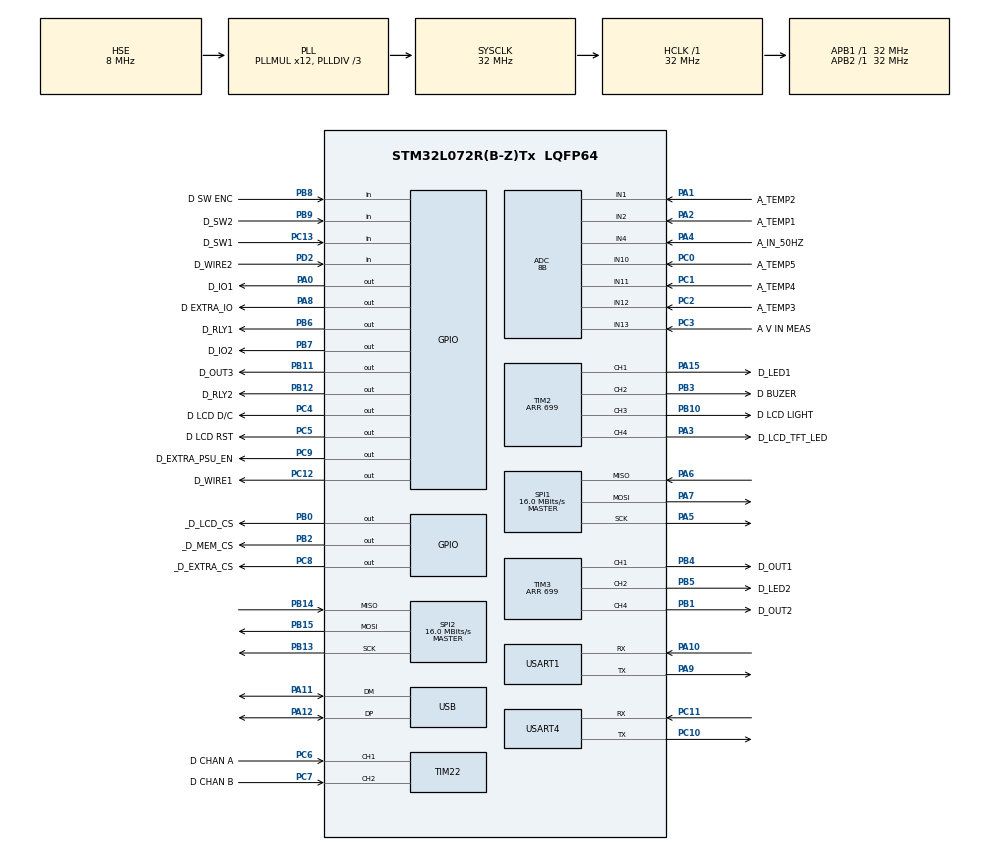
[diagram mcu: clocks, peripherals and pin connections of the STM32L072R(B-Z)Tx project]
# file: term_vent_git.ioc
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ADC.ClockPrescaler=ADC_CLOCK_SYNC_PCLK_DIV2
ADC.ContinuousConvMode=DISABLE
ADC.DMAContinuousRequests=DISABLE
ADC.DataAlign=ADC_DATAALIGN_RIGHT
ADC.DiscontinuousConvMode=DISABLE
ADC.EOCSelection=ADC_EOC_SINGLE_CONV
ADC.EnableAnalogWatchDog=false
ADC.ExternalTrigConv=ADC_SOFTWARE_START
ADC.ExternalTrigConvEdge=ADC_EXTERNALTRIGCONVEDGE_NONE
ADC.LowPowerAutoPowerOff=DISABLE
ADC.LowPowerAutoWait=DISABLE
ADC.LowPowerFrequencyMode=DISABLE
ADC.Overrun=ADC_OVR_DATA_PRESERVED
ADC.OversamplingMode=DISABLE
ADC.Resolution=ADC_RESOLUTION_8B
ADC.SamplingTime=ADC_SAMPLETIME_12CYCLES_5
ADC.ScanConvMode=ADC_SCAN_DIRECTION_FORWARD
Dma.ADC.0.Direction=DMA_PERIPH_TO_MEMORY
Dma.ADC.0.Instance=DMA1_Channel1
Dma.ADC.0.MemDataAlignment=DMA_MDATAALIGN_WORD
Dma.ADC.0.MemInc=DMA_MINC_ENABLE
Dma.ADC.0.Mode=DMA_NORMAL
Dma.ADC.0.PeriphDataAlignment=DMA_PDATAALIGN_WORD
Dma.ADC.0.PeriphInc=DMA_PINC_DISABLE
Dma.ADC.0.Priority=DMA_PRIORITY_LOW
Dma.Request0=ADC
Mcu.Family=STM32L0
Mcu.Name=STM32L072R(B-Z)Tx
Mcu.Package=LQFP64
NVIC.DMA1_Channel1_IRQn=true\:0\:0\:false\:false\:true\:false
PA0.GPIO_Label=D_IO1
PA0.GPIO_ModeDefaultOutputPP=GPIO_MODE_OUTPUT_PP
PA0.GPIO_PuPd=GPIO_NOPULL
PA0.Signal=GPIO_Output
PA1.GPIO_Label=A_TEMP2
PA1.Mode=IN1
PA1.Signal=ADC_IN1
PA10.Mode=Asynchronous
PA10.Signal=USART1_RX
PA11.Mode=Device
PA11.Signal=USB_DM
PA12.Mode=Device
PA12.Signal=USB_DP
PA13.Mode=Serial_Wire
PA13.Signal=SYS_SWDIO
PA14.Mode=Serial_Wire
PA14.Signal=SYS_SWCLK
PA15.GPIO_Label=D_LED1
PA15.Signal=S_TIM2_CH1
PA2.GPIO_Label=A_TEMP1
PA2.Signal=SharedAnalog_PA2
PA3.GPIO_Label=D_LCD_TFT_LED
PA3.GPIO_ModeDefaultPP=GPIO_MODE_AF_OD
PA3.Signal=S_TIM2_CH4
PA4.GPIO_Label=A_IN_50HZ
PA4.Signal=SharedAnalog_PA4
PA5.Mode=Full_Duplex_Master
PA5.Signal=SPI1_SCK
PA6.Mode=Full_Duplex_Master
PA6.Signal=SPI1_MISO
PA7.Mode=Full_Duplex_Master
PA7.Signal=SPI1_MOSI
PA8.GPIO_Label=D EXTRA_IO
PA8.Signal=GPIO_Output
PA9.Mode=Asynchronous
PA9.Signal=USART1_TX
PB0.GPIO_Label=_D_LCD_CS
PB0.Signal=GPIO_Output
PB1.GPIO_Label=D_OUT2
PB1.Signal=S_TIM3_CH4
PB10.GPIO_Label=D LCD LIGHT
PB10.Signal=S_TIM2_CH3
PB11.GPIO_Label=D_OUT3
PB11.Signal=GPIO_Output
PB12.GPIO_Label=D_RLY2
PB12.Signal=GPIO_Output
PB13.Mode=Full_Duplex_Master
PB13.Signal=SPI2_SCK
PB14.Mode=Full_Duplex_Master
PB14.Signal=SPI2_MISO
PB15.Mode=Full_Duplex_Master
PB15.Signal=SPI2_MOSI
PB2.GPIO_Label=_D_MEM_CS
PB2.Signal=GPIO_Output
PB3.GPIO_Label=D BUZER
PB3.Signal=S_TIM2_CH2
PB4.GPIO_Label=D_OUT1
PB4.Signal=S_TIM3_CH1
PB5.GPIO_Label=D_LED2
PB5.Signal=S_TIM3_CH2
PB6.GPIO_Label=D_RLY1
PB6.Signal=GPIO_Output
PB7.GPIO_Label=D_IO2
PB7.Signal=GPIO_Output
PB8.GPIO_Label=D SW ENC
PB8.Signal=GPIO_Input
PB9.GPIO_Label=D_SW2
PB9.Signal=GPIO_Input
PC0.GPIO_Label=A_TEMP5
PC0.Signal=SharedAnalog_PC0
PC1.GPIO_Label=A_TEMP4
PC1.Signal=SharedAnalog_PC1
PC10.Mode=Asynchronous
PC10.Signal=USART4_TX
PC11.Mode=Asynchronous
PC11.Signal=USART4_RX
PC12.GPIO_Label=D_WIRE1
PC12.Signal=GPIO_Output
PC13.GPIO_Label=D_SW1
PC13.Signal=GPIO_Input
PC14-OSC32_IN.Mode=LSE-External-Oscillator
PC14-OSC32_IN.Signal=RCC_OSC32_IN
PC15-OSC32_OUT.Mode=LSE-External-Oscillator
PC15-OSC32_OUT.Signal=RCC_OSC32_OUT
PC2.GPIO_Label=A_TEMP3
PC2.Mode=IN12
PC2.Signal=ADC_IN12
PC3.GPIO_Label=A V IN MEAS
PC3.Mode=IN13
PC3.Signal=ADC_IN13
PC4.GPIO_Label=D LCD D/C
PC4.Signal=GPIO_Output
PC5.GPIO_Label=D LCD RST
PC5.Signal=GPIO_Output
PC6.GPIO_Label=D CHAN A
PC6.Signal=S_TIM22_CH1
PC7.GPIO_Label=D CHAN B
PC7.Signal=S_TIM22_CH2
PC8.GPIO_Label=_D_EXTRA_CS
PC8.Signal=GPIO_Output
PC9.GPIO_Label=D_EXTRA_PSU_EN
PC9.Signal=GPIO_Output
PD2.GPIO_Label=D_WIRE2
PD2.Signal=GPIO_Input
PH0-OSC_IN.Mode=HSE-External-Oscillator
PH0-OSC_IN.Signal=RCC_OSC_IN
PH1-OSC_OUT.Mode=HSE-External-Oscillator
PH1-OSC_OUT.Signal=RCC_OSC_OUT
ProjectManager.HeapSize=0x200
ProjectManager.StackSize=0x400
ProjectManager.TargetToolchain=SW4STM32
RCC.AHBFreq_Value=32000000
RCC.APB1Freq_Value=32000000
RCC.APB1TimFreq_Value=32000000
RCC.APB2Freq_Value=32000000
RCC.APB2TimFreq_Value=32000000
RCC.HCLKFreq_Value=32000000
RCC.HSE_VALUE=8000000
RCC.HSI16_VALUE=16000000
RCC.HSI48_VALUE=48000000
RCC.HSI_VALUE=16000000
RCC.MSI_VALUE=2097000
RCC.PLLDIV=RCC_PLLDIV_3
RCC.PLLMUL=RCC_PLLMUL_12
RCC.RTCClockSelection=RCC_RTCCLKSOURCE_LSE
RCC.RTCClockSelectionVirtual=RCC_RTCCLKSOURCE_LSE
RCC.SYSCLKFreq_VALUE=32000000
RCC.SYSCLKSource=RCC_SYSCLKSOURCE_PLLCLK
RCC.VCOOutputFreq_Value=96000000
RTC.Date=19
RTC.Month=RTC_MONTH_JANUARY
RTC.WeekDay=RTC_WEEKDAY_SATURDAY
RTC.Year=19
SH.S_TIM22_CH1.0=TIM22_CH1,Encoder_Interface
SH.S_TIM22_CH2.0=TIM22_CH2,Encoder_Interface
SH.S_TIM2_CH1.0=TIM2_CH1,PWM Generation1 CH1
SH.S_TIM2_CH2.0=TIM2_CH2,PWM Generation2 CH2
SH.S_TIM2_CH3.0=TIM2_CH3,PWM Generation3 CH3
SH.S_TIM2_CH4.0=TIM2_CH4,PWM Generation4 CH4
SH.S_TIM3_CH1.0=TIM3_CH1,PWM Generation1 CH1
SH.S_TIM3_CH2.0=TIM3_CH2,PWM Generation2 CH2
SH.S_TIM3_CH4.0=TIM3_CH4,PWM Generation4 CH4
SH.SharedAnalog_PA2.0=GPIO_Analog
SH.SharedAnalog_PA2.1=ADC_IN2,IN2
SH.SharedAnalog_PA4.0=GPIO_Analog
SH.SharedAnalog_PA4.1=ADC_IN4,IN4
SH.SharedAnalog_PC0.0=GPIO_Analog
SH.SharedAnalog_PC0.1=ADC_IN10,IN10
SH.SharedAnalog_PC1.0=GPIO_Analog
SH.SharedAnalog_PC1.1=ADC_IN11,IN11
SPI1.CalculateBaudRate=16.0 MBits/s
SPI1.Direction=SPI_DIRECTION_2LINES
SPI1.Mode=SPI_MODE_MASTER
SPI1.VirtualType=VM_MASTER
SPI2.CalculateBaudRate=16.0 MBits/s
SPI2.Direction=SPI_DIRECTION_2LINES
SPI2.Mode=SPI_MODE_MASTER
SPI2.VirtualType=VM_MASTER
TIM2.Channel-PWM\ Generation1\ CH1=TIM_CHANNEL_1
TIM2.Channel-PWM\ Generation2\ CH2=TIM_CHANNEL_2
TIM2.Channel-PWM\ Generation3\ CH3=TIM_CHANNEL_3
TIM2.Channel-PWM\ Generation4\ CH4=TIM_CHANNEL_4
TIM2.OCPolarity_1=TIM_OCPOLARITY_LOW
TIM2.OCPolarity_2=TIM_OCPOLARITY_LOW
TIM2.OCPolarity_3=TIM_OCPOLARITY_LOW
TIM2.Period=699
TIM2.Pulse-PWM\ Generation1\ CH1=524
TIM2.Pulse-PWM\ Generation2\ CH2=35
TIM2.Pulse-PWM\ Generation3\ CH3=600
TIM2.Pulse-PWM\ Generation4\ CH4=600
TIM21.Period=0x0FFFF
TIM21.Prescaler=32
TIM3.Channel-PWM\ Generation1\ CH1=TIM_CHANNEL_1
TIM3.Channel-PWM\ Generation2\ CH2=TIM_CHANNEL_2
TIM3.Channel-PWM\ Generation4\ CH4=TIM_CHANNEL_4
TIM3.Period=699
TIM3.Pulse-PWM\ Generation1\ CH1=524
TIM3.Pulse-PWM\ Generation2\ CH2=524
TIM3.Pulse-PWM\ Generation4\ CH4=524
USART1.VirtualMode-Asynchronous=VM_ASYNC
USART4.VirtualMode-Asynchronous=VM_ASYNC
VP_RTC_VS_RTC_Activate.Mode=RTC_Enabled
VP_RTC_VS_RTC_Calendar.Mode=RTC_Calendar
VP_RTC_VS_RTC_WakeUp_intern.Mode=WakeUp
VP_TIM21_VS_ClockSourceINT.Mode=Internal
board=term_vent_git

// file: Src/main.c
/**
  ******************************************************************************
  * File Name          : main.c
  * Description        : Main program body
  ******************************************************************************
  ** This notice applies to any and all portions of this file
  * that are not between comment pairs USER CODE BEGIN and
  * USER CODE END. Other portions of this file, whether
  * inserted by the user or by software development tools
  * are owned by their respective copyright owners.
  *
  * COPYRIGHT(c) 2019 STMicroelectronics
  *
  * Redistribution and use in source and binary forms, with or without modification,
  * are permitted provided that the following conditions are met:
  *   1. Redistributions of source code must retain the above copyright notice,
  *      this list of conditions and the following disclaimer.
  *   2. Redistributions in binary form must reproduce the above copyright notice,
  *      this list of conditions and the following disclaimer in the documentation
  *      and/or other materials provided with the distribution.
  *   3. Neither the name of STMicroelectronics nor the names of its contributors
  *      may be used to endorse or promote products derived from this software
  *      without specific prior written permission.
  *
  * THIS SOFTWARE IS PROVIDED BY THE COPYRIGHT HOLDERS AND CONTRIBUTORS "AS IS"
  * AND ANY EXPRESS OR IMPLIED WARRANTIES, INCLUDING, BUT NOT LIMITED TO, THE
  * IMPLIED WARRANTIES OF MERCHANTABILITY AND FITNESS FOR A PARTICULAR PURPOSE ARE
  * DISCLAIMED. IN NO EVENT SHALL THE COPYRIGHT HOLDER OR CONTRIBUTORS BE LIABLE
  * FOR ANY DIRECT, INDIRECT, INCIDENTAL, SPECIAL, EXEMPLARY, OR CONSEQUENTIAL
  * DAMAGES (INCLUDING, BUT NOT LIMITED TO, PROCUREMENT OF SUBSTITUTE GOODS OR
  * SERVICES; LOSS OF USE, DATA, OR PROFITS; OR BUSINESS INTERRUPTION) HOWEVER
  * CAUSED AND ON ANY THEORY OF LIABILITY, WHETHER IN CONTRACT, STRICT LIABILITY,
  * OR TORT (INCLUDING NEGLIGENCE OR OTHERWISE) ARISING IN ANY WAY OUT OF THE USE
  * OF THIS SOFTWARE, EVEN IF ADVISED OF THE POSSIBILITY OF SUCH DAMAGE.
  *
  ******************************************************************************
  */

#include "main.h"
#include "stm32l0xx_hal.h"
#include "adc.h"
#include "dma.h"
#include "rtc.h"
#include "spi.h"
#include "tim.h"
#include "usart.h"
#include "usb.h"
#include "gpio.h"

/* USER CODE BEGIN Includes */
/**
 * Program pro ventilacni system
 */
#include "pinmap.h"
#include "peripherals.h"
#include "global.h"
#include "lcd_12864.h"
#include "BME280.h"
#include "ds18b20.h"
#include <stdio.h>
#include "rtc_api.h"
#include "Time.h"
//#include "menu.h"
#include "log.h"
#include "sleep.h"
#include "pwm.h"
#include "button.h"
/* USER CODE END Includes */

/* USER CODE BEGIN PV */
/* Private variables ---------------------------------------------------------*/

static States_loop current_state;
static Screen show;
Flags_main flags;
int8_t en_count=0;

Buttons pushed_button; //cleared each main cycle

/* USER CODE END PV */

void SystemClock_Config(void);

/* USER CODE BEGIN PFP */
/* Private function prototypes -----------------------------------------------*/

/* USER CODE END PFP */

int main(void)
{

  /* MCU Configuration----------------------------------------------------------*/

  /* Reset of all peripherals, Initializes the Flash interface and the Systick. */
  HAL_Init();

  /* USER CODE BEGIN Init */
  char buffer_s [32];

  uint8_t en_count_last=0;
  char aShowTime[50] = {0};
  Bool show_time=TRUE;

  //timeouts
  Compare_t backlite_compare, measure_compare, led_compare, time_compare, button_compare, vent_compare, logging_compare, show_timeout, heating_instant_timeout;
  backlite_compare.overflow=FALSE , measure_compare.overflow=FALSE, led_compare.overflow=FALSE, time_compare.overflow=FALSE, button_compare.overflow=FALSE, vent_compare.overflow=FALSE, logging_compare.overflow=FALSE, show_timeout.overflow=FALSE, heating_instant_timeout.overflow=FALSE;
  actual_HALtick.overflow = FALSE;
  past_HALtick.overflow = FALSE;

  /* USER CODE END Init */

  /* Configure the system clock */
  SystemClock_Config();

  /* Initialize all configured peripherals */
  MX_GPIO_Init();
  MX_DMA_Init();
  MX_ADC_Init();
  MX_RTC_Init();
  MX_SPI1_Init();
  MX_SPI2_Init();
  MX_TIM2_Init();
  MX_TIM3_Init();
  MX_TIM22_Init();
  MX_USART1_UART_Init();
  MX_USART4_UART_Init();
  MX_USB_PCD_Init();
  MX_TIM21_Init();

  /* USER CODE BEGIN 2 */
  backliteOn();
  fill_comparer(BACKLITE_TIMEOUT, &backlite_compare);
  fill_comparer(BUT_DELAY, &button_compare);
  fill_comparer(TIME_PERIODE, &time_compare);

  lcd12864_init(&hspi1);
  line(0,60,110,60,1);
  lcd_setCharPos(0,0);
  lcd_printString("Initialization unit\r");
  lcd_printString("term_vent_git-simple\r");
  snprintf(buffer_s, 11, "SW v 0.%03d", SW_VERSION);
  lcd_printString(buffer_s);
  //ENCODER initialization
  HAL_TIM_Encoder_Start(&htim22,TIM_CHANNEL_1);
  htim22.Instance->EGR = 1;           // Generate an update event
  htim22.Instance->CR1 = 1;           // Enable the counter

  HAL_Delay(1700);
  lcd_clear();

  current_state = IDLE;
  show=desktop;

  /* USER CODE END 2 */

  /* Infinite loop */
  /* USER CODE BEGIN WHILE */
  for (;;)
  {
	  switch (current_state){

/*	  case MEASURING:
	  {

		  HAL_ADC_PollForConversion(&hadc,100);

		   Check if the continous conversion of regular channel is finished
		      if ((HAL_ADC_GetState(&hadc) & HAL_ADC_STATE_REG_EOC) == HAL_ADC_STATE_REG_EOC)
		      {
		        ##-6- Get the converted value of regular channel  ########################
		    	  aADCxConvertedData[2] = HAL_ADC_GetValue(&hadc);
		      }
		  //START ADC CONVERSION:

		    if (HAL_ADC_Start_DMA(&hadc,(uint32_t *)aADCxConvertedData,  ADC_CONVERTED_DATA_BUFFER_SIZE) != HAL_OK)
		    {
		  	  Error_Handler();
		    }
	    // end of the ADC start rutine conversion

//DEBUG

		  PWM_togle(21);
		  HAL_GPIO_TogglePin(D_RLY1_GPIO_Port,D_RLY1_Pin);

 //debug

			  InputVoltage = aADCxConvertedData[2];
		  flags.new_data_to_show=TRUE;
		  current_state = IDLE;
		  fill_comparer(MEASURE_PERIODE, &measure_compare);

		  break;
	  }*/

	  case VENT:
	  		  {

	  			  break;
	  		  }

	  case IDLE:
		  {
			  break;
		  }

	  default:
	  {
		  break;
	  }

	  }// end of switch CURRENT STATE

	  /* **** SCREEN **** */
	  switch (show){

	  case blind:
	  {
		  lcd_clear();
		  show = idle;
		  break;
	  }
	  case desktop:
	  {// showing main screen - temperatures and Hum
		  if (flags.new_data_to_show==TRUE){

			  char_magnitude(1);

			  flags.new_data_to_show=FALSE; // the data was showed.

		  }// end if - new data to show
		  if (show_time){

			  RTC_DateShow(&hrtc,aShowTime);
			  lcd_setCharPos(0,11);
			  lcd_printString(aShowTime);
			  RTC_TimeShow(&hrtc,aShowTime);
			  //lcd_setCharPos(0,12);
			  lcd_setCharPos(0,1);
			  lcd_printString(aShowTime);

			  // end of the time part - new timer set.
			  fill_comparer(TIME_PERIODE, &time_compare);
			  show_time = FALSE;
		  }

/*DEBUG*/

lcd_setCharPos(7,8);
snprintf(buffer_s, 14, "sys%9ld;",actual_HALtick.tick);
lcd_printString(buffer_s);

/* DEBUG*/

		  show = idle;
		  break;
	  }
	  case idle:
	  {
		  break;
	  }

	  case debug:
	  {
		  // debug

		  /**Popis kanalu
		   * chanel 1	TEMP2
		   * chanel 2	TEMP3
		   * chanel 4	V_IN_MEAS
		   * chanel 10	TEMP1
		   * chanel 11	50HZ
		   * chanel 12	TEMP5
		   * chanel 13	TEMP4
		   */

		  break;
	  }

	  default:{
		  lcd_setCharPos(1,1);
		  lcd_printString("ERROR display -default" );
	  }
	  }// switch show

	  /***********------ TIME ELAPSING CHECK -------*****************/
	  		get_actual_HAL_tick(); // put the actual number of ms counter to variable actual_HALtic.tick

	  		if(comparer_timeout(&vent_compare)) //measure after defined period.
	  		{
	  			current_state = VENT;
	  		}
	  		if (comparer_timeout(&measure_compare))  //measure after defined period.
	  		{
	  			current_state = MEASURING;
	  		}
	  		if(comparer_timeout(&time_compare)) //change time after defined period.
	  		{
	  			show_time = TRUE;
	//DEBUG
	  			show = desktop;
//END DEBUG
	  		}

	  		if(comparer_timeout(&show_timeout)) //change time after defined period.
	  		{
	  			show = desktop;
	  		}

	  		if (comparer_timeout(&backlite_compare))
	  		{
	  			backliteOff();
	  		}

/************---- READ KEYBOARD -----************/

	  		pushed_button = BUT_NONE;
	  		if(comparer_timeout(&button_compare)) //every delay time
	  		{
	  			pushed_button = button_pressed();
	  			fill_comparer(BUT_DELAY, &button_compare);
	  			//flags.enc_changed = FALSE;
	  			// reading the actual number from encoder
	  			uint32_t actual_counter_CNT = htim22.Instance->CNT;
	  			if (en_count_last != actual_counter_CNT){
	  				en_count+= actual_counter_CNT-en_count_last;
	  				en_count_last=actual_counter_CNT;
	  				flags.enc_changed = TRUE;
	  				if (pushed_button == BUT_NONE) // enabling light/ increase time constants.
	  					pushed_button = ENCODER;
	  			}
	  		}
	  		if(pushed_button != BUT_NONE) // any button pushed?
	  		{
	  			backliteOn();
	  			fill_comparer(BACKLITE_TIMEOUT, &backlite_compare);
	  			fill_comparer(SHOW_TIMEOUT, &show_timeout);
	  		}

	  		// -- BUTTON PROCCESS
	  		switch (pushed_button){
	  		case BUT_1:
	  		{
	  			PWM_togle(32);	//D3
	  			break;
	  		}
	  		case BUT_2:
	  		{// Immediattely heating for 15 minutes

	  			PWM_togle(21);	//D2

	  			break;
	  		}
	  		case BUT_ENC:
	  		{

	  			break;
	  		}
	  		case ENCODER:
	  		{
	  			break;
	  		}
	  		default:
	  		{

	  			break;
	  		}

	  		} // switch pushed button

	  		HAL_Delay(MAIN_LOOP);

	  		// DEBUG LED
static uint8_t pocitadlo_debug=0;
pocitadlo_debug++;
if (400 < (pocitadlo_debug*MAIN_LOOP)) { // cekej 400ms
	PWM_togle(31);	//OUT1
  	PWM_togle(34);	//OUT2
  	//PWM_togle(22); //BUZZER
  	HAL_GPIO_TogglePin(D_RLY2_GPIO_Port,D_RLY2_Pin);
  	pocitadlo_debug=0;

}
// END DEBUG LED

//DEBUG rychlost jednoho cyklu

static uint32_t stare_halTick = 0;
uint32_t rozdil= HAL_GetTick() - stare_halTick;
stare_halTick = HAL_GetTick();
lcd_setCharPos(6,5);
snprintf(buffer_s, 13, "rychlost%4d",rozdil);
lcd_printString(buffer_s);

//END DEBUG

  /* USER CODE END WHILE */

  }

}

/** System Clock Configuration
*/
void SystemClock_Config(void)
{

  RCC_OscInitTypeDef RCC_OscInitStruct;
  RCC_ClkInitTypeDef RCC_ClkInitStruct;
  RCC_PeriphCLKInitTypeDef PeriphClkInit;

    /**Configure the main internal regulator output voltage
    */
  __HAL_PWR_VOLTAGESCALING_CONFIG(PWR_REGULATOR_VOLTAGE_SCALE1);

    /**Configure LSE Drive Capability
    */
  __HAL_RCC_LSEDRIVE_CONFIG(RCC_LSEDRIVE_LOW);

    /**Initializes the CPU, AHB and APB busses clocks
    */
  RCC_OscInitStruct.OscillatorType = RCC_OSCILLATORTYPE_HSE|RCC_OSCILLATORTYPE_LSE;
  RCC_OscInitStruct.HSEState = RCC_HSE_ON;
  RCC_OscInitStruct.LSEState = RCC_LSE_ON;
  RCC_OscInitStruct.PLL.PLLState = RCC_PLL_ON;
  RCC_OscInitStruct.PLL.PLLSource = RCC_PLLSOURCE_HSE;
  RCC_OscInitStruct.PLL.PLLMUL = RCC_PLLMUL_12;
  RCC_OscInitStruct.PLL.PLLDIV = RCC_PLLDIV_3;
  if (HAL_RCC_OscConfig(&RCC_OscInitStruct) != HAL_OK)
  {
    _Error_Handler(__FILE__, __LINE__);
  }

    /**Initializes the CPU, AHB and APB busses clocks
    */
  RCC_ClkInitStruct.ClockType = RCC_CLOCKTYPE_HCLK|RCC_CLOCKTYPE_SYSCLK
                              |RCC_CLOCKTYPE_PCLK1|RCC_CLOCKTYPE_PCLK2;
  RCC_ClkInitStruct.SYSCLKSource = RCC_SYSCLKSOURCE_PLLCLK;
  RCC_ClkInitStruct.AHBCLKDivider = RCC_SYSCLK_DIV1;
  RCC_ClkInitStruct.APB1CLKDivider = RCC_HCLK_DIV1;
  RCC_ClkInitStruct.APB2CLKDivider = RCC_HCLK_DIV1;

  if (HAL_RCC_ClockConfig(&RCC_ClkInitStruct, FLASH_LATENCY_1) != HAL_OK)
  {
    _Error_Handler(__FILE__, __LINE__);
  }

  PeriphClkInit.PeriphClockSelection = RCC_PERIPHCLK_USART1|RCC_PERIPHCLK_RTC
                              |RCC_PERIPHCLK_USB;
  PeriphClkInit.Usart1ClockSelection = RCC_USART1CLKSOURCE_PCLK2;
  PeriphClkInit.RTCClockSelection = RCC_RTCCLKSOURCE_LSE;
  PeriphClkInit.UsbClockSelection = RCC_USBCLKSOURCE_PLL;
  if (HAL_RCCEx_PeriphCLKConfig(&PeriphClkInit) != HAL_OK)
  {
    _Error_Handler(__FILE__, __LINE__);
  }

    /**Configure the Systick interrupt time
    */
  HAL_SYSTICK_Config(HAL_RCC_GetHCLKFreq()/1000);

    /**Configure the Systick
    */
  HAL_SYSTICK_CLKSourceConfig(SYSTICK_CLKSOURCE_HCLK);

  /* SysTick_IRQn interrupt configuration */
  HAL_NVIC_SetPriority(SysTick_IRQn, 0, 0);
}

void _Error_Handler(char * file, int line)
{
  while(1)
  {
  }
}

/************************ (C) COPYRIGHT STMicroelectronics *****END OF FILE****/
